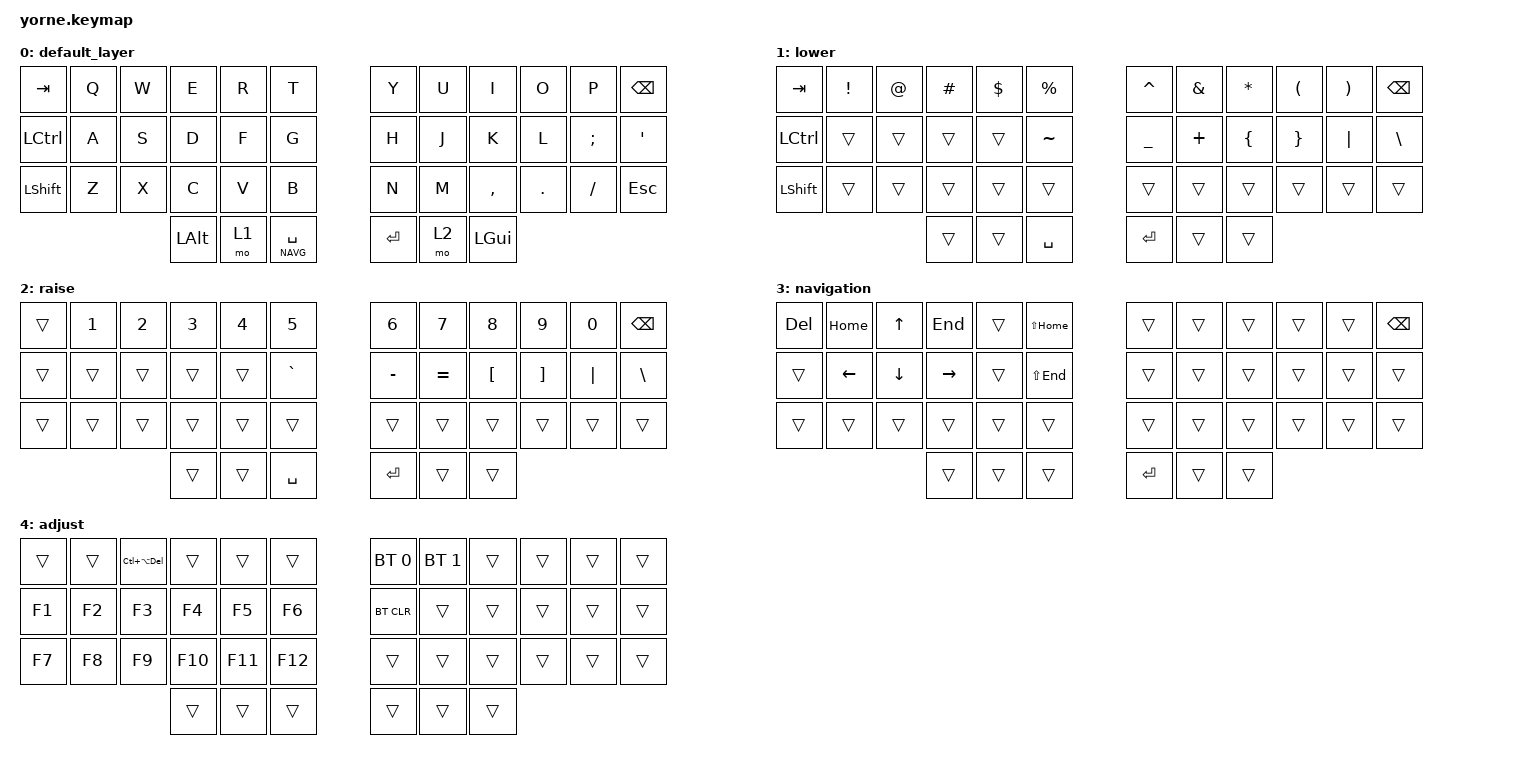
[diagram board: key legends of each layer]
/*
 * Copyright (c) 2024 Ridwan Abdullah
 *
 * SPDX-License-Identifier: MIT
 */

#include <behaviors.dtsi>
#include <dt-bindings/zmk/keys.h>
#include <dt-bindings/zmk/bt.h>

#define LOWR 1
#define RAIS 2
#define NAVG 3
#define ADJT 4

/ {
        // Activate ADJUST layer by pressing raise and lower
        conditional_layers {
                compatible = "zmk,conditional-layers";
                adjust_layer {
                if-layers = <LOWR RAIS>;
                then-layer = <ADJT>;
                };
        };

        keymap {
                compatible = "zmk,keymap";

                default_layer {
                        bindings = <
                        &kp TAB         &kp Q           &kp W           &kp E           &kp R           &kp T           &kp Y           &kp U           &kp I           &kp O           &kp P           &kp BSPC
                        &kp LCTRL       &kp A           &kp S           &kp D           &kp F           &kp G           &kp H           &kp J           &kp K           &kp L           &kp SEMI        &kp SQT
                        &kp LSHFT       &kp Z           &kp X           &kp C           &kp V           &kp B           &kp N           &kp M           &kp COMMA       &kp DOT         &kp FSLH        &kp ESC
                                                                        &kp LALT        &mo 1           &lt NAVG SPACE  &kp RET         &mo 2           &kp LGUI   
                        >;
                };
                lower {
                        bindings = <
                        &kp TAB         &kp EXCL        &kp AT          &kp HASH        &kp DLLR        &kp PRCNT       &kp CARET       &kp AMPS        &kp ASTRK       &kp LPAR        &kp RPAR        &kp BSPC
                        &kp LCTRL       &trans          &trans          &trans          &trans          &kp TILDE       &kp UNDER       &kp PLUS        &kp LBRC        &kp RBRC        &kp PIPE        &kp BSLH
                        &kp LSHFT       &trans          &trans          &trans          &trans          &trans          &trans          &trans          &trans          &trans          &trans          &trans
                                                                        &trans          &trans          &kp SPACE       &kp RET         &trans          &trans
                        >;
                };

                raise {
                        bindings = <
                        &trans          &kp N1          &kp N2          &kp N3          &kp N4          &kp N5          &kp N6          &kp N7          &kp N8          &kp N9          &kp N0          &kp BSPC
                        &trans          &trans          &trans          &trans          &trans          &kp GRAVE       &kp MINUS       &kp EQUAL       &kp LBKT        &kp RBKT        &kp PIPE        &kp BSLH
                        &trans          &trans          &trans          &trans          &trans          &trans          &trans          &trans          &trans          &trans          &trans          &trans
                                                                        &trans          &trans          &kp SPACE       &kp RET         &trans          &trans
                        >;
                };

                navigation {
                        bindings = <
                        &kp DEL         &kp HOME        &kp UP          &kp END         &trans          &kp LS(HOME)    &trans          &trans          &trans          &trans          &trans          &kp BSPC
                        &trans          &kp LEFT        &kp DOWN        &kp RIGHT       &trans          &kp LS(END)     &trans          &trans          &trans          &trans          &trans          &trans
                        &trans          &trans          &trans          &trans          &trans          &trans          &trans          &trans          &trans          &trans          &trans          &trans
                                                                        &trans          &trans          &trans          &kp RET         &trans          &trans
                        >;
                };

                adjust {
                        bindings = <
                        &trans          &trans          &kp LC(LA(DEL)) &trans          &trans          &trans          &bt BT_SEL 0    &bt BT_SEL 1    &trans          &trans          &trans          &trans
                        &kp F1          &kp F2          &kp F3          &kp F4          &kp F5          &kp F6          &bt BT_CLR      &trans          &trans          &trans          &trans          &trans
                        &kp F7          &kp F8          &kp F9          &kp F10         &kp F11         &kp F12         &trans          &trans          &trans          &trans          &trans          &trans
                                                                        &trans          &trans          &trans          &trans          &trans          &trans
                        >;
                };
        };
};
